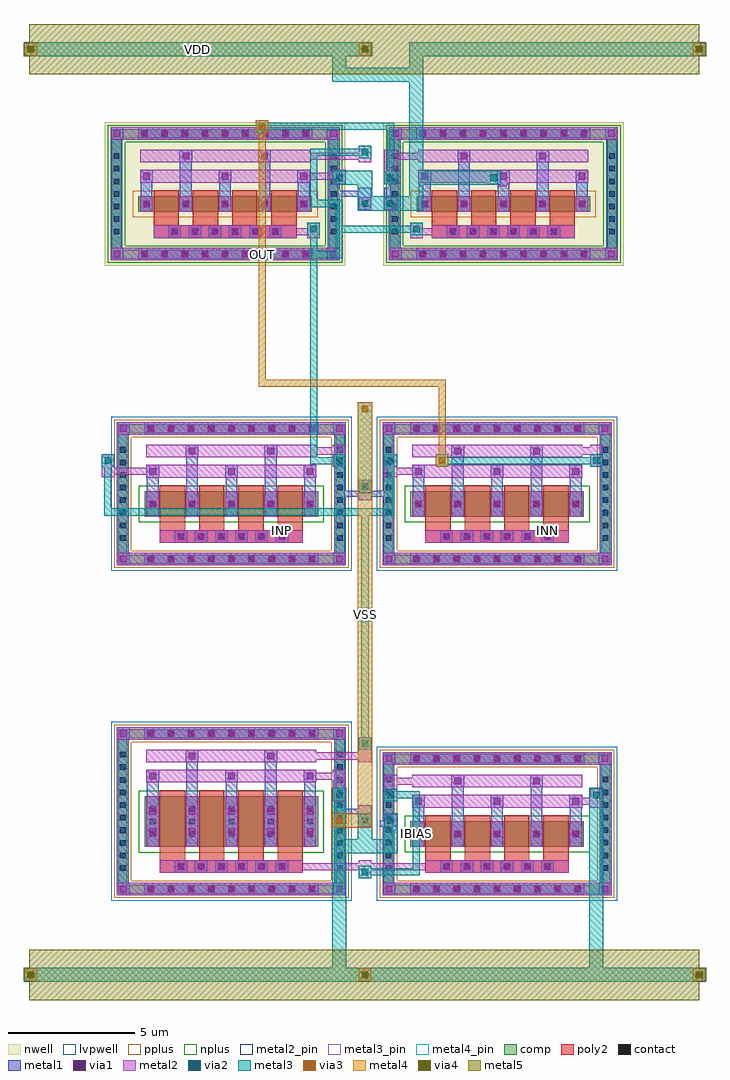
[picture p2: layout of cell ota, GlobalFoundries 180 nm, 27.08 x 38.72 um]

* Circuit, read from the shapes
.subckt ota IBIAS INN INP OUT VDD VSS
XM1 n1 IBIAS VSS VSS nfet_03v3 w=2u l=1u m=4
XM2 n2 INP n1 VSS nfet_03v3 w=1u l=1u m=4
XM3 IBIAS IBIAS VSS VSS nfet_03v3 w=1u l=1u m=4
XM4 OUT INN n1 VSS nfet_03v3 w=1u l=1u m=4
XM5 n2 n2 VDD VDD pfet_03v3 w=0.6u l=1u m=4
XM6 OUT n2 VDD VDD pfet_03v3 w=0.6u l=1u m=4
.ends

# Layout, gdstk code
import gdstk
lib = gdstk.Library(unit=1e-6, precision=1e-09)
def R(c, l, rs):  # rectangles x0, y0, x1, y1
    for r in rs: c.add(gdstk.rectangle(r[:2], r[2:], *l))
def A(c, l, x, y, w, h, nx, ny, dx, dy):  # array of equal rectangles
    R(c, l, [(x+i*dx, y+j*dy, x+i*dx+w, y+j*dy+h) for i in range(nx) for j in range(ny)])
def P(c, l, *ps):  # polygons
    for p in ps: c.add(gdstk.Polygon(p, *l))
nwell = (21, 0)
comp = (22, 0)
poly2 = (30, 0)
pplus = (31, 0)
nplus = (32, 0)
contact = (33, 0)
metal1 = (34, 0)
via1 = (35, 0)
metal2 = (36, 0)
metal2_pin = (36, 10)
via2 = (38, 0)
via3 = (40, 0)
via4 = (41, 0)
metal3 = (42, 0)
metal3_pin = (42, 10)
metal4 = (46, 0)
metal4_pin = (46, 10)
metal5 = (81, 0)
lvpwell = (204, 0)

ota = lib.new_cell('ota')
R(ota, nwell, [(-10.29,25.19,-0.75,30.89), (0.75,25.19,10.29,30.89)])
A(ota, comp, -8.65, 0.28, 0.36, 0.36, 9, 2, 0.8, 6.17)
A(ota, comp, 1.89, 0.28, 0.36, 0.36, 9, 2, 0.8, 5.18)
A(ota, comp, -9.76, 1.115, 0.36, 0.36, 1, 10, 0, 0.5)
A(ota, comp, -1.14, 1.115, 0.36, 0.36, 1, 10, 0, 0.5)
A(ota, comp, 0.78, 1.12, 0.36, 0.36, 1, 8, 0, 0.5)
A(ota, comp, 9.4, 1.12, 0.36, 0.36, 1, 8, 0, 0.5)
A(ota, comp, -8.65, 13.37, 0.36, 0.36, 9, 2, 0.8, 5.18)
A(ota, comp, 1.89, 13.37, 0.36, 0.36, 9, 2, 0.8, 5.18)
A(ota, comp, -9.76, 14.21, 0.36, 0.36, 1, 8, 0, 0.5)
A(ota, comp, -1.14, 14.21, 0.36, 0.36, 1, 8, 0, 0.5)
A(ota, comp, 0.78, 14.21, 0.36, 0.36, 1, 8, 0, 0.5)
A(ota, comp, 9.4, 14.21, 0.36, 0.36, 1, 8, 0, 0.5)
A(ota, comp, -8.9, 25.47, 0.36, 0.36, 9, 2, 0.8, 4.78)
A(ota, comp, 2.14, 25.47, 0.36, 0.36, 9, 2, 0.8, 4.78)
A(ota, comp, -10.01, 26.36, 0.36, 0.36, 1, 7, 0, 0.5)
A(ota, comp, -1.39, 26.36, 0.36, 0.36, 1, 7, 0, 0.5)
A(ota, comp, 1.03, 26.36, 0.36, 0.36, 1, 7, 0, 0.5)
A(ota, comp, 9.65, 26.36, 0.36, 0.36, 1, 7, 0, 0.5)
R(ota, comp, [(-8.65,0.28,-1.89,0.64), (1.89,0.28,8.65,0.64), (-9.76,1.115,-9.4,5.975), (-1.14,1.115,-0.78,5.975), (0.78,1.12,1.14,4.98), (9.4,1.12,9.76,4.98), (-8.71,2.14,-1.83,4.14), (1.83,2.145,8.71,3.145), (1.89,5.46,8.65,5.82), (-8.65,6.45,-1.89,6.81), (-8.65,13.37,-1.89,13.73), (1.89,13.37,8.65,13.73), (-9.76,14.21,-9.4,18.07), (-1.14,14.21,-0.78,18.07), (0.78,14.21,1.14,18.07), (9.4,14.21,9.76,18.07), (-8.71,15.235,-1.83,16.235), (1.83,15.235,8.71,16.235), (-8.65,18.55,-1.89,18.91), (1.89,18.55,8.65,18.91), (-8.9,25.47,-2.14,25.83), (2.14,25.47,8.9,25.83), (-10.01,26.36,-9.65,29.72), (-1.39,26.36,-1.03,29.72), (1.03,26.36,1.39,29.72), (9.65,26.36,10.01,29.72), (-8.96,27.34,-2.08,27.94), (2.08,27.34,8.96,27.94), (-8.9,30.25,-2.14,30.61), (2.14,30.25,8.9,30.61)])
P(ota, comp, [(-9.76,13.37),(-9.76,13.73),(-1.14,13.73),(-1.14,18.55),(-9.4,18.55),(-9.4,13.73),(-9.76,13.73),(-9.76,18.91),(-0.78,18.91),(-0.78,13.37)],
  [(0.78,0.28),(0.78,0.64),(9.4,0.64),(9.4,5.46),(1.14,5.46),(1.14,0.64),(0.78,0.64),(0.78,5.82),(9.76,5.82),(9.76,0.28)],
  [(-9.76,0.28),(-9.76,0.64),(-1.14,0.64),(-1.14,6.45),(-9.4,6.45),(-9.4,0.64),(-9.76,0.64),(-9.76,6.81),(-0.78,6.81),(-0.78,0.28)],
  [(1.03,25.47),(1.03,25.83),(9.65,25.83),(9.65,30.25),(1.39,30.25),(1.39,25.83),(1.03,25.83),(1.03,30.61),(10.01,30.61),(10.01,25.47)],
  [(-10.01,25.47),(-10.01,25.83),(-1.39,25.83),(-1.39,30.25),(-9.65,30.25),(-9.65,25.83),(-10.01,25.83),(-10.01,30.61),(-1.03,30.61),(-1.03,25.47)],
  [(0.78,13.37),(0.78,13.73),(9.4,13.73),(9.4,18.55),(1.14,18.55),(1.14,13.73),(0.78,13.73),(0.78,18.91),(9.76,18.91),(9.76,13.37)])
A(ota, poly2, -7.45, 1.17, 0.36, 0.36, 6, 2, 0.8, 13.095)
A(ota, poly2, 3.09, 1.175, 0.36, 0.36, 6, 2, 0.8, 13.09)
A(ota, poly2, -8.11, 1.6, 1, 0.3, 4, 2, 1.56, 13.095)
A(ota, poly2, 2.43, 1.605, 1, 0.3, 4, 2, 1.56, 13.09)
A(ota, poly2, -8.11, 1.9, 1, 2.48, 4, 1, 1.56, 0)
A(ota, poly2, 2.43, 1.905, 1, 1.48, 4, 2, 1.56, 13.09)
A(ota, poly2, -8.11, 14.995, 1, 1.48, 4, 1, 1.56, 0)
A(ota, poly2, -7.7, 26.36, 0.36, 0.36, 6, 1, 0.8, 0)
A(ota, poly2, 3.34, 26.36, 0.36, 0.36, 6, 1, 0.8, 0)
A(ota, poly2, -8.36, 26.79, 1, 0.31, 4, 1, 1.56, 0)
A(ota, poly2, 2.68, 26.79, 1, 0.31, 4, 1, 1.56, 0)
A(ota, poly2, -8.36, 27.1, 1, 1.08, 4, 1, 1.56, 0)
A(ota, poly2, 2.68, 27.1, 1, 1.08, 4, 1, 1.56, 0)
R(ota, poly2, [(-8.11,1.1,-2.43,1.6), (2.43,1.105,8.11,1.605), (-8.11,14.195,-2.43,14.695), (2.43,14.195,8.11,14.695), (-8.36,26.29,-2.68,26.79), (2.68,26.29,8.36,26.79)])
R(ota, pplus, [(-9.19,27.11,-1.85,28.17), (1.85,27.11,9.19,28.17)])
P(ota, pplus, [(-9.92,13.21),(-9.92,13.89),(-1.3,13.89),(-1.3,18.39),(-9.24,18.39),(-9.24,13.89),(-9.92,13.89),(-9.92,19.07),(-0.62,19.07),(-0.62,13.21)],
  [(0.62,0.12),(0.62,0.8),(9.24,0.8),(9.24,5.3),(1.3,5.3),(1.3,0.8),(0.62,0.8),(0.62,5.98),(9.92,5.98),(9.92,0.12)],
  [(-9.92,0.12),(-9.92,0.8),(-1.3,0.8),(-1.3,6.29),(-9.24,6.29),(-9.24,0.8),(-9.92,0.8),(-9.92,6.97),(-0.62,6.97),(-0.62,0.12)],
  [(0.62,13.21),(0.62,13.89),(9.24,13.89),(9.24,18.39),(1.3,18.39),(1.3,13.89),(0.62,13.89),(0.62,19.07),(9.92,19.07),(9.92,13.21)])
R(ota, nplus, [(-8.94,1.91,-1.6,4.37), (1.6,1.915,8.94,3.375), (-8.94,15.005,-1.6,16.465), (1.6,15.005,8.94,16.465)])
P(ota, nplus, [(0.87,25.31),(0.87,25.99),(9.49,25.99),(9.49,30.09),(1.55,30.09),(1.55,25.99),(0.87,25.99),(0.87,30.77),(10.17,30.77),(10.17,25.31)],
  [(-10.17,25.31),(-10.17,25.99),(-1.55,25.99),(-1.55,30.09),(-9.49,30.09),(-9.49,25.99),(-10.17,25.99),(-10.17,30.77),(-0.87,30.77),(-0.87,25.31)])
A(ota, contact, -8.58, 0.35, 0.22, 0.22, 9, 2, 0.8, 6.17)
A(ota, contact, 1.96, 0.35, 0.22, 0.22, 9, 2, 0.8, 5.18)
A(ota, contact, -9.69, 1.185, 0.22, 0.22, 1, 10, 0, 0.5)
A(ota, contact, -1.07, 1.185, 0.22, 0.22, 1, 10, 0, 0.5)
A(ota, contact, 0.85, 1.19, 0.22, 0.22, 1, 8, 0, 0.5)
A(ota, contact, 9.47, 1.19, 0.22, 0.22, 1, 8, 0, 0.5)
A(ota, contact, -7.38, 1.24, 0.22, 0.22, 6, 2, 0.8, 13.095)
A(ota, contact, 3.16, 1.245, 0.22, 0.22, 6, 2, 0.8, 13.09)
A(ota, contact, -8.5, 2.53, 0.22, 0.22, 5, 3, 1.56, 0.5)
A(ota, contact, 2.04, 2.535, 0.22, 0.22, 5, 2, 1.56, 13.09)
A(ota, contact, -8.58, 13.44, 0.22, 0.22, 9, 2, 0.8, 5.18)
A(ota, contact, 1.96, 13.44, 0.22, 0.22, 9, 2, 0.8, 5.18)
A(ota, contact, -9.69, 14.28, 0.22, 0.22, 1, 8, 0, 0.5)
A(ota, contact, -1.07, 14.28, 0.22, 0.22, 1, 8, 0, 0.5)
A(ota, contact, 0.85, 14.28, 0.22, 0.22, 1, 8, 0, 0.5)
A(ota, contact, 9.47, 14.28, 0.22, 0.22, 1, 8, 0, 0.5)
A(ota, contact, -8.5, 15.625, 0.22, 0.22, 5, 1, 1.56, 0)
A(ota, contact, -8.83, 25.54, 0.22, 0.22, 9, 2, 0.8, 4.78)
A(ota, contact, 2.21, 25.54, 0.22, 0.22, 9, 2, 0.8, 4.78)
A(ota, contact, -9.94, 26.43, 0.22, 0.22, 1, 7, 0, 0.5)
A(ota, contact, -7.63, 26.43, 0.22, 0.22, 6, 1, 0.8, 0)
A(ota, contact, -1.32, 26.43, 0.22, 0.22, 1, 7, 0, 0.5)
A(ota, contact, 1.1, 26.43, 0.22, 0.22, 1, 7, 0, 0.5)
A(ota, contact, 3.41, 26.43, 0.22, 0.22, 6, 1, 0.8, 0)
A(ota, contact, 9.72, 26.43, 0.22, 0.22, 1, 7, 0, 0.5)
A(ota, contact, -8.75, 27.53, 0.22, 0.22, 5, 1, 1.56, 0)
A(ota, contact, 2.29, 27.53, 0.22, 0.22, 5, 1, 1.56, 0)
A(ota, metal1, -8.72, 0.21, 0.5, 0.5, 9, 2, 0.8, 6.17)
A(ota, metal1, 1.82, 0.21, 0.5, 0.5, 9, 2, 0.8, 5.18)
A(ota, metal1, -9.81, 1.065, 0.46, 0.46, 1, 10, 0, 0.5)
A(ota, metal1, -1.19, 1.065, 0.46, 0.46, 1, 10, 0, 0.5)
A(ota, metal1, 0.73, 1.07, 0.46, 0.46, 1, 8, 0, 0.5)
A(ota, metal1, 9.35, 1.07, 0.46, 0.46, 1, 8, 0, 0.5)
A(ota, metal1, -7.52, 1.1, 0.5, 0.5, 6, 2, 0.8, 13.095)
A(ota, metal1, 3.02, 1.105, 0.5, 0.5, 6, 2, 0.8, 13.09)
A(ota, metal1, -8.62, 2.14, 0.46, 2, 5, 1, 1.56, 0)
A(ota, metal1, 1.92, 2.145, 0.46, 1, 5, 2, 1.56, 13.09)
A(ota, metal1, -8.62, 2.41, 0.46, 0.46, 5, 3, 1.56, 0.5)
A(ota, metal1, 1.92, 2.415, 0.46, 0.46, 5, 2, 1.56, 13.09)
A(ota, metal1, -8.64, 2.49, 0.5, 0.5, 5, 2, 1.56, 0.8)
A(ota, metal1, -8.64, 2.49, 0.5, 1.3, 5, 1, 1.56, 0)
A(ota, metal1, 1.92, 3.145, 0.46, 1.05, 3, 2, 3.12, 13.09)
A(ota, metal1, 1.9, 3.695, 0.5, 0.5, 3, 2, 3.12, 13.09)
A(ota, metal1, -8.62, 4.14, 0.46, 1.05, 3, 2, 3.12, 12.095)
A(ota, metal1, -8.64, 4.69, 0.5, 0.5, 3, 2, 3.12, 12.095)
A(ota, metal1, -8.72, 13.3, 0.5, 0.5, 9, 2, 0.8, 5.18)
A(ota, metal1, 1.82, 13.3, 0.5, 0.5, 9, 2, 0.8, 5.18)
A(ota, metal1, -9.81, 14.16, 0.46, 0.46, 1, 8, 0, 0.5)
A(ota, metal1, -1.19, 14.16, 0.46, 0.46, 1, 8, 0, 0.5)
A(ota, metal1, 0.73, 14.16, 0.46, 0.46, 1, 8, 0, 0.5)
A(ota, metal1, 9.35, 14.16, 0.46, 0.46, 1, 8, 0, 0.5)
A(ota, metal1, -8.62, 15.235, 0.46, 1, 5, 1, 1.56, 0)
A(ota, metal1, -8.62, 15.505, 0.46, 0.46, 5, 1, 1.56, 0)
A(ota, metal1, -8.97, 25.4, 0.5, 0.5, 9, 2, 0.8, 4.78)
A(ota, metal1, 2.07, 25.4, 0.5, 0.5, 9, 2, 0.8, 4.78)
A(ota, metal1, -7.77, 26.29, 0.5, 0.5, 6, 1, 0.8, 0)
A(ota, metal1, 3.27, 26.29, 0.5, 0.5, 6, 1, 0.8, 0)
A(ota, metal1, -10.06, 26.31, 0.46, 0.46, 1, 7, 0, 0.5)
A(ota, metal1, -1.44, 26.31, 0.46, 0.46, 1, 7, 0, 0.5)
A(ota, metal1, 0.98, 26.31, 0.46, 0.46, 1, 7, 0, 0.5)
A(ota, metal1, 9.6, 26.31, 0.46, 0.46, 1, 7, 0, 0.5)
A(ota, metal1, -8.87, 27.34, 0.46, 0.6, 5, 1, 1.56, 0)
A(ota, metal1, 2.17, 27.34, 0.46, 0.6, 5, 1, 1.56, 0)
A(ota, metal1, -8.87, 27.41, 0.46, 0.46, 5, 1, 1.56, 0)
A(ota, metal1, 2.17, 27.41, 0.46, 0.46, 5, 1, 1.56, 0)
A(ota, metal1, -8.87, 27.94, 0.46, 1.05, 3, 1, 3.12, 0)
A(ota, metal1, 2.17, 27.94, 0.46, 1.05, 3, 1, 3.12, 0)
A(ota, metal1, -8.89, 28.49, 0.5, 0.5, 3, 1, 3.12, 0)
A(ota, metal1, 2.15, 28.49, 0.5, 0.5, 3, 1, 3.12, 0)
R(ota, metal1, [(-9.81,0.21,-9.31,0.71), (-9.81,0.21,-9.31,0.71), (-9.81,0.21,-9.35,0.64), (-8.72,0.21,-1.82,0.71), (-1.23,0.21,-0.73,0.71), (-1.23,0.21,-0.73,0.71), (-1.19,0.21,-0.73,0.64), (0.73,0.21,1.23,0.71), (0.73,0.21,1.23,0.71), (0.73,0.21,1.19,0.64), (1.82,0.21,8.72,0.71), (9.31,0.21,9.81,0.71), (9.31,0.21,9.81,0.71), (9.35,0.21,9.81,0.64), (-9.81,0.64,-9.35,6.45), (-1.19,0.64,-0.73,6.45), (0.73,0.64,1.19,5.46), (9.35,0.64,9.81,5.46), (1.9,2.395,2.4,2.895), (1.9,2.395,2.4,2.895), (3.46,2.395,3.96,2.895), (3.46,2.395,3.96,2.895), (5.02,2.395,5.52,2.895), (5.02,2.395,5.52,2.895), (6.58,2.395,7.08,2.895), (6.58,2.395,7.08,2.895), (8.14,2.395,8.64,2.895), (8.14,2.395,8.64,2.895), (0.8,2.53,1.19,2.8), (0.8,2.8,1.3,3.43), (-0.22,2.93,0.28,3.79), (-0.22,2.93,0.28,3.43), (0.8,2.93,1.3,3.43), (0.615,2.935,1.165,3.165), (3.48,3.145,3.94,4.995), (6.6,3.145,7.06,4.995), (-0.845,3.425,0.145,3.655), (0.8,3.43,1.19,3.57), (-7.06,4.14,-6.6,5.99), (-3.94,4.14,-3.48,5.99), (3.46,4.495,3.96,4.995), (6.58,4.495,7.08,4.995), (0.73,5.39,1.23,5.89), (0.73,5.39,1.23,5.89), (1.82,5.39,8.72,5.89), (9.31,5.39,9.81,5.89), (9.31,5.39,9.81,5.89), (0.73,5.46,1.19,5.89), (9.35,5.46,9.81,5.89), (-7.08,5.49,-6.58,5.99), (-3.96,5.49,-3.46,5.99), (-9.81,6.38,-9.31,6.88), (-9.81,6.38,-9.31,6.88), (-8.72,6.38,-1.82,6.88), (-1.23,6.38,-0.73,6.88), (-1.23,6.38,-0.73,6.88), (-9.81,6.45,-9.35,6.88), (-1.19,6.45,-0.73,6.88), (-9.81,13.3,-9.31,13.8), (-9.81,13.3,-9.31,13.8), (-9.81,13.3,-9.35,13.73), (-8.72,13.3,-1.82,13.8), (-1.23,13.3,-0.73,13.8), (-1.23,13.3,-0.73,13.8), (-1.19,13.3,-0.73,13.73), (0.73,13.3,1.23,13.8), (0.73,13.3,1.23,13.8), (0.73,13.3,1.19,13.73), (1.82,13.3,8.72,13.8), (9.31,13.3,9.81,13.8), (9.31,13.3,9.81,13.8), (9.35,13.3,9.81,13.73), (-9.81,13.73,-9.35,18.55), (-1.19,13.73,-0.73,18.55), (0.73,13.73,1.19,18.55), (9.35,13.73,9.81,18.55), (-8.64,15.485,-8.14,15.985), (-8.64,15.485,-8.14,15.985), (-7.08,15.485,-6.58,15.985), (-7.08,15.485,-6.58,15.985), (-5.52,15.485,-5.02,15.985), (-5.52,15.485,-5.02,15.985), (-3.96,15.485,-3.46,15.985), (-3.96,15.485,-3.46,15.985), (-2.4,15.485,-1.9,15.985), (-2.4,15.485,-1.9,15.985), (1.9,15.485,2.4,15.985), (1.9,15.485,2.4,15.985), (3.46,15.485,3.96,15.985), (3.46,15.485,3.96,15.985), (5.02,15.485,5.52,15.985), (5.02,15.485,5.52,15.985), (6.58,15.485,7.08,15.985), (6.58,15.485,7.08,15.985), (8.14,15.485,8.64,15.985), (8.14,15.485,8.64,15.985), (-0.22,15.89,0.28,16.69), (-0.22,15.89,0.28,16.69), (-0.22,15.89,0.28,16.69), (-0.22,15.89,0.28,16.69), (-0.845,16.025,0.145,16.255), (-0.845,16.025,0.145,16.255), (-0.085,16.025,0.845,16.255), (-0.085,16.025,0.845,16.255), (-0.22,16.19,0.28,16.69), (-7.06,16.235,-6.6,18.085), (-3.94,16.235,-3.48,18.085), (3.48,16.235,3.94,18.085), (6.6,16.235,7.06,18.085), (-7.08,17.585,-6.58,18.085), (-3.96,17.585,-3.46,18.085), (3.46,17.585,3.96,18.085), (6.58,17.585,7.08,18.085), (-9.81,18.48,-9.31,18.98), (-9.81,18.48,-9.31,18.98), (-8.72,18.48,-1.82,18.98), (-1.23,18.48,-0.73,18.98), (-1.23,18.48,-0.73,18.98), (0.73,18.48,1.23,18.98), (0.73,18.48,1.23,18.98), (1.82,18.48,8.72,18.98), (9.31,18.48,9.81,18.98), (9.31,18.48,9.81,18.98), (-9.81,18.55,-9.35,18.98), (-1.19,18.55,-0.73,18.98), (0.73,18.55,1.19,18.98), (9.35,18.55,9.81,18.98), (-10.06,25.4,-9.56,25.9), (-10.06,25.4,-9.56,25.9), (-10.06,25.4,-9.6,25.83), (-8.97,25.4,-2.07,25.9), (-1.48,25.4,-0.98,25.9), (-1.48,25.4,-0.98,25.9), (-1.44,25.4,-0.98,25.83), (0.98,25.4,1.48,25.9), (0.98,25.4,1.48,25.9), (0.98,25.4,1.44,25.83), (2.07,25.4,8.97,25.9), (9.56,25.4,10.06,25.9), (9.56,25.4,10.06,25.9), (9.6,25.4,10.06,25.83), (-10.06,25.83,-9.6,30.25), (-1.44,25.83,-0.98,30.25), (0.98,25.83,1.44,30.25), (9.6,25.83,10.06,30.25), (0.98,27.27,1.3,27.41), (-8.89,27.39,-8.39,27.89), (-8.89,27.39,-8.39,27.89), (-7.33,27.39,-6.83,27.89), (-7.33,27.39,-6.83,27.89), (-5.77,27.39,-5.27,27.89), (-5.77,27.39,-5.27,27.89), (-4.21,27.39,-3.71,27.89), (-4.21,27.39,-3.71,27.89), (-2.65,27.39,-2.15,27.89), (-2.65,27.39,-2.15,27.89), (2.15,27.39,2.65,27.89), (2.15,27.39,2.65,27.89), (3.71,27.39,4.21,27.89), (3.71,27.39,4.21,27.89), (5.27,27.39,5.77,27.89), (5.27,27.39,5.77,27.89), (6.83,27.39,7.33,27.89), (6.83,27.39,7.33,27.89), (8.39,27.39,8.89,27.89), (8.39,27.39,8.89,27.89), (-0.22,27.41,0.28,28.29), (-0.22,27.41,0.28,27.91), (0.8,27.41,1.3,28.29), (0.8,27.41,1.3,27.91), (-1.095,27.77,-0.98,27.925), (0.98,27.77,1.165,27.925), (-1.095,27.925,0.145,28.155), (0.865,27.925,1.165,28.155), (-7.31,27.94,-6.85,29.79), (-4.19,27.94,-3.73,29.79), (3.73,27.94,4.19,29.79), (6.85,27.94,7.31,29.79), (-1.095,28.155,-0.98,28.31), (0.98,28.155,1.165,28.31), (0.98,28.29,1.3,28.31), (-7.33,29.29,-6.83,29.79), (-4.21,29.29,-3.71,29.79), (3.71,29.29,4.21,29.79), (6.83,29.29,7.33,29.79), (-10.06,30.18,-9.56,30.68), (-10.06,30.18,-9.56,30.68), (-8.97,30.18,-2.07,30.68), (-1.48,30.18,-0.98,30.68), (-1.48,30.18,-0.98,30.68), (0.98,30.18,1.48,30.68), (0.98,30.18,1.48,30.68), (2.07,30.18,8.97,30.68), (9.56,30.18,10.06,30.68), (9.56,30.18,10.06,30.68), (-10.06,30.25,-9.6,30.68), (-1.44,30.25,-0.98,30.68), (0.98,30.25,1.44,30.68), (9.6,30.25,10.06,30.68)])
A(ota, via1, -8.6, 0.33, 0.26, 0.26, 9, 2, 0.8, 6.17)
A(ota, via1, 1.94, 0.33, 0.26, 0.26, 9, 2, 0.8, 5.18)
A(ota, via1, -7.4, 1.22, 0.26, 0.26, 6, 2, 0.8, 13.095)
A(ota, via1, 3.14, 1.225, 0.26, 0.26, 6, 2, 0.8, 13.09)
A(ota, via1, 2.02, 2.515, 0.26, 0.26, 5, 2, 1.56, 13.09)
A(ota, via1, -8.52, 2.61, 0.26, 0.26, 5, 2, 1.56, 0.8)
A(ota, via1, 2.02, 3.815, 0.26, 0.26, 3, 2, 3.12, 13.09)
A(ota, via1, -8.52, 4.81, 0.26, 0.26, 3, 2, 3.12, 12.095)
A(ota, via1, -8.6, 13.42, 0.26, 0.26, 9, 2, 0.8, 5.18)
A(ota, via1, 1.94, 13.42, 0.26, 0.26, 9, 2, 0.8, 5.18)
A(ota, via1, -8.52, 15.605, 0.26, 0.26, 5, 1, 1.56, 0)
A(ota, via1, -8.85, 25.52, 0.26, 0.26, 9, 2, 0.8, 4.78)
A(ota, via1, 2.19, 25.52, 0.26, 0.26, 9, 2, 0.8, 4.78)
A(ota, via1, -7.65, 26.41, 0.26, 0.26, 6, 1, 0.8, 0)
A(ota, via1, 3.39, 26.41, 0.26, 0.26, 6, 1, 0.8, 0)
A(ota, via1, -8.77, 27.51, 0.26, 0.26, 5, 1, 1.56, 0)
A(ota, via1, 2.27, 27.51, 0.26, 0.26, 5, 1, 1.56, 0)
A(ota, via1, -8.77, 28.61, 0.26, 0.26, 3, 1, 3.12, 0)
A(ota, via1, 2.27, 28.61, 0.26, 0.26, 3, 1, 3.12, 0)
R(ota, via1, [(-9.69,0.33,-9.43,0.59), (-1.11,0.33,-0.85,0.59), (0.85,0.33,1.11,0.59), (9.43,0.33,9.69,0.59), (-0.1,3.05,0.16,3.31), (0.92,3.05,1.18,3.31), (3.58,4.615,3.84,4.875), (6.7,4.615,6.96,4.875), (0.85,5.51,1.11,5.77), (9.43,5.51,9.69,5.77), (-6.96,5.61,-6.7,5.87), (-3.84,5.61,-3.58,5.87), (-9.69,6.5,-9.43,6.76), (-1.11,6.5,-0.85,6.76), (-9.69,13.42,-9.43,13.68), (-1.11,13.42,-0.85,13.68), (0.85,13.42,1.11,13.68), (9.43,13.42,9.69,13.68), (-0.1,16.31,0.16,16.57), (-6.96,17.705,-6.7,17.965), (-3.84,17.705,-3.58,17.965), (3.58,17.705,3.84,17.965), (6.7,17.705,6.96,17.965), (-9.69,18.6,-9.43,18.86), (-1.11,18.6,-0.85,18.86), (0.85,18.6,1.11,18.86), (9.43,18.6,9.69,18.86), (-9.94,25.52,-9.68,25.78), (-1.36,25.52,-1.1,25.78), (1.1,25.52,1.36,25.78), (9.68,25.52,9.94,25.78), (-0.1,27.53,0.16,27.79), (0.92,27.53,1.18,27.79), (-7.21,29.41,-6.95,29.67), (-4.09,29.41,-3.83,29.67), (3.83,29.41,4.09,29.67), (6.95,29.41,7.21,29.67), (-9.94,30.3,-9.68,30.56), (-1.36,30.3,-1.1,30.56), (1.1,30.3,1.36,30.56), (9.68,30.3,9.94,30.56)])
A(ota, metal2, -8.72, 0.21, 0.5, 0.5, 9, 2, 0.8, 6.17)
A(ota, metal2, 1.82, 0.21, 0.5, 0.5, 9, 2, 0.8, 5.18)
A(ota, metal2, -7.52, 1.1, 0.5, 0.5, 6, 2, 0.8, 13.095)
A(ota, metal2, 3.02, 1.105, 0.5, 0.5, 6, 2, 0.8, 13.09)
A(ota, metal2, -8.64, 2.14, 0.5, 2, 5, 1, 1.56, 0)
A(ota, metal2, 1.9, 2.145, 0.5, 1, 5, 2, 1.56, 13.09)
A(ota, metal2, 1.9, 2.395, 0.5, 0.5, 5, 2, 1.56, 13.09)
A(ota, metal2, -8.64, 2.49, 0.5, 0.5, 5, 2, 1.56, 0.8)
A(ota, metal2, 1.9, 3.695, 0.5, 0.5, 3, 2, 3.12, 13.09)
A(ota, metal2, -8.64, 4.69, 0.5, 0.5, 3, 2, 3.12, 12.095)
A(ota, metal2, -8.72, 13.3, 0.5, 0.5, 9, 2, 0.8, 5.18)
A(ota, metal2, 1.82, 13.3, 0.5, 0.5, 9, 2, 0.8, 5.18)
A(ota, metal2, -8.64, 15.235, 0.5, 1, 5, 1, 1.56, 0)
A(ota, metal2, -8.64, 15.485, 0.5, 0.5, 5, 1, 1.56, 0)
A(ota, metal2, -8.97, 25.4, 0.5, 0.5, 9, 2, 0.8, 4.78)
A(ota, metal2, 2.07, 25.4, 0.5, 0.5, 9, 2, 0.8, 4.78)
A(ota, metal2, -7.77, 26.29, 0.5, 0.5, 6, 1, 0.8, 0)
A(ota, metal2, 3.27, 26.29, 0.5, 0.5, 6, 1, 0.8, 0)
A(ota, metal2, -8.89, 27.34, 0.5, 0.6, 5, 1, 1.56, 0)
A(ota, metal2, 2.15, 27.34, 0.5, 0.6, 5, 1, 1.56, 0)
A(ota, metal2, -8.89, 27.39, 0.5, 0.5, 5, 1, 1.56, 0)
A(ota, metal2, 2.15, 27.39, 0.5, 0.5, 5, 1, 1.56, 0)
A(ota, metal2, -8.89, 28.49, 0.5, 0.5, 3, 1, 3.12, 0)
A(ota, metal2, 2.15, 28.49, 0.5, 0.5, 3, 1, 3.12, 0)
R(ota, metal2, [(-9.81,0.21,-9.31,0.71), (-9.81,0.21,-9.31,0.71), (-9.81,0.21,-9.4,0.71), (-9.4,0.21,-1.14,0.71), (-1.23,0.21,-0.73,0.71), (-1.23,0.21,-0.73,0.71), (-1.14,0.21,-0.73,0.71), (0.73,0.21,1.23,0.71), (0.73,0.21,1.23,0.71), (0.73,0.21,1.14,0.71), (1.14,0.21,9.4,0.71), (9.31,0.21,9.81,0.71), (9.31,0.21,9.81,0.71), (9.4,0.21,9.81,0.71), (-0.22,0.89,0.28,1.6), (-0.22,0.89,0.28,1.6), (-0.22,0.89,0.28,1.6), (-0.22,0.89,0.28,1.6), (-0.22,0.89,0.28,1.39), (-8.11,1.1,-2.43,1.6), (2.43,1.105,8.11,1.605), (-2.57,1.21,0.17,1.49), (-2.57,1.21,0.17,1.49), (-0.11,1.21,2.57,1.49), (-0.11,1.21,2.57,1.49), (-0.22,2.93,0.28,3.43), (0.8,2.93,1.3,3.43), (8.96,3.69,9.46,4.45), (1.9,3.695,8.64,4.195), (8.5,3.8,9.35,4.08), (-1.24,3.95,-0.74,4.45), (-1.24,3.95,-0.74,5.19), (0.8,3.95,1.3,4.45), (0.8,3.95,1.3,4.99), (8.96,3.95,9.46,4.45), (1.9,4.495,8.64,4.995), (3.46,4.495,3.96,4.995), (6.58,4.495,7.08,4.995), (0.91,4.6,2.04,4.88), (-8.64,4.69,-1.9,5.19), (-2.04,4.8,-0.85,5.08), (0.73,5.39,1.23,5.89), (0.73,5.39,1.23,5.89), (0.73,5.39,1.14,5.89), (1.14,5.39,9.4,5.89), (9.31,5.39,9.81,5.89), (9.31,5.39,9.81,5.89), (9.4,5.39,9.81,5.89), (-8.64,5.49,-1.9,5.99), (-7.08,5.49,-6.58,5.99), (-3.96,5.49,-3.46,5.99), (-0.22,5.49,0.28,6.49), (-2.04,5.6,0.17,5.88), (-0.22,5.99,0.28,6.49), (-9.81,6.38,-9.31,6.88), (-9.81,6.38,-9.31,6.88), (-9.81,6.38,-9.4,6.88), (-9.4,6.38,-1.14,6.88), (-1.23,6.38,-0.73,6.88), (-1.23,6.38,-0.73,6.88), (-1.14,6.38,-0.73,6.88), (-9.81,13.3,-9.31,13.8), (-9.81,13.3,-9.31,13.8), (-9.81,13.3,-9.4,13.8), (-9.4,13.3,-1.14,13.8), (-1.23,13.3,-0.73,13.8), (-1.23,13.3,-0.73,13.8), (-1.14,13.3,-0.73,13.8), (0.73,13.3,1.23,13.8), (0.73,13.3,1.23,13.8), (0.73,13.3,1.14,13.8), (1.14,13.3,9.4,13.8), (9.31,13.3,9.81,13.8), (9.31,13.3,9.81,13.8), (9.4,13.3,9.81,13.8), (-8.11,14.195,-2.43,14.695), (2.43,14.195,8.11,14.695), (-0.22,16.19,0.28,16.69), (-8.64,16.785,-1.9,17.285), (1.9,16.785,8.64,17.285), (-10.42,16.79,-9.92,17.71), (0.8,16.79,1.3,17.71), (-10.31,16.9,-8.5,17.18), (0.91,16.9,2.04,17.18), (-10.42,17.21,-9.92,17.71), (-1.24,17.21,-0.74,17.71), (-1.24,17.21,-0.74,18.09), (0.8,17.21,1.3,17.71), (8.96,17.21,9.46,17.71), (8.96,17.21,9.46,18.09), (-8.64,17.585,-1.9,18.085), (-7.08,17.585,-6.58,18.085), (-3.96,17.585,-3.46,18.085), (1.9,17.585,8.64,18.085), (3.46,17.585,3.96,18.085), (6.58,17.585,7.08,18.085), (-2.04,17.7,-0.85,17.98), (8.5,17.7,9.35,17.98), (-9.81,18.48,-9.31,18.98), (-9.81,18.48,-9.31,18.98), (-9.81,18.48,-9.4,18.98), (-9.4,18.48,-1.14,18.98), (-1.23,18.48,-0.73,18.98), (-1.23,18.48,-0.73,18.98), (-1.14,18.48,-0.73,18.98), (0.73,18.48,1.23,18.98), (0.73,18.48,1.23,18.98), (0.73,18.48,1.14,18.98), (1.14,18.48,9.4,18.98), (9.31,18.48,9.81,18.98), (9.31,18.48,9.81,18.98), (9.4,18.48,9.81,18.98), (-10.06,25.4,-9.56,25.9), (-10.06,25.4,-9.56,25.9), (-10.06,25.4,-9.65,25.9), (-9.65,25.4,-1.39,25.9), (-1.48,25.4,-0.98,25.9), (-1.48,25.4,-0.98,25.9), (-1.39,25.4,-0.98,25.9), (0.98,25.4,1.48,25.9), (0.98,25.4,1.48,25.9), (0.98,25.4,1.39,25.9), (1.39,25.4,9.65,25.9), (9.56,25.4,10.06,25.9), (9.56,25.4,10.06,25.9), (9.65,25.4,10.06,25.9), (-8.36,26.29,-2.68,26.79), (-2.26,26.29,-1.76,26.89), (1.82,26.29,2.32,26.89), (2.68,26.29,8.36,26.79), (-2.26,26.39,-1.76,26.89), (1.82,26.39,2.32,26.89), (-2.82,26.4,-1.87,26.68), (1.93,26.4,2.82,26.68), (-0.22,27.41,0.28,27.91), (0.8,27.41,1.3,27.91), (5.38,28.35,5.66,28.82), (-1.24,28.43,-0.74,28.93), (-1.24,28.43,-0.74,28.99), (0.8,28.43,1.3,28.93), (0.8,28.43,1.3,29.79), (4.88,28.43,5.38,28.93), (4.88,28.43,5.77,28.93), (-8.89,28.49,-2.15,28.99), (2.15,28.49,8.89,28.99), (-2.29,28.6,-0.85,28.88), (-8.89,29.29,-2.15,29.79), (-7.33,29.29,-6.83,29.79), (-4.21,29.29,-3.71,29.79), (-0.22,29.29,0.28,29.95), (2.15,29.29,8.89,29.79), (3.71,29.29,4.21,29.79), (6.83,29.29,7.33,29.79), (-2.29,29.4,0.17,29.68), (0.91,29.4,2.29,29.68), (-0.22,29.45,0.28,29.95), (-10.06,30.18,-9.56,30.68), (-10.06,30.18,-9.56,30.68), (-10.06,30.18,-9.65,30.68), (-9.65,30.18,-1.39,30.68), (-1.48,30.18,-0.98,30.68), (-1.48,30.18,-0.98,30.68), (-1.39,30.18,-0.98,30.68), (0.98,30.18,1.48,30.68), (0.98,30.18,1.48,30.68), (0.98,30.18,1.39,30.68), (1.39,30.18,9.65,30.68), (9.56,30.18,10.06,30.68), (9.56,30.18,10.06,30.68), (9.65,30.18,10.06,30.68)])
R(ota, metal2_pin, [(-3.41,14.555,-3.13,14.835), (7.13,14.555,7.41,14.835)])
R(ota, via2, [(-0.1,1.01,0.16,1.27), (-0.1,3.05,0.16,3.31), (0.92,3.05,1.18,3.31), (-1.12,4.07,-0.86,4.33), (0.92,4.07,1.18,4.33), (9.08,4.07,9.34,4.33), (-0.1,6.11,0.16,6.37), (-0.1,16.31,0.16,16.57), (-10.3,17.33,-10.04,17.59), (-1.12,17.33,-0.86,17.59), (0.92,17.33,1.18,17.59), (9.08,17.33,9.34,17.59), (-2.14,26.51,-1.88,26.77), (1.94,26.51,2.2,26.77), (-0.1,27.53,0.16,27.79), (0.92,27.53,1.18,27.79), (-1.12,28.55,-0.86,28.81), (0.92,28.55,1.18,28.81), (5,28.55,5.26,28.81), (-0.1,29.57,0.16,29.83)])
A(ota, via3, -13.36, -3.07, 0.26, 0.26, 3, 2, 13.26, 36.72)
R(ota, via3, [(-1.12,3.05,-0.86,3.31), (2.96,17.33,3.22,17.59), (-0.1,19.37,0.16,19.63), (-4.18,30.59,-3.92,30.85)])
A(ota, via4, -13.36, -3.07, 0.26, 0.26, 3, 2, 13.26, 36.72)
A(ota, metal3, -13.48, -3.19, 0.5, 0.5, 3, 2, 13.26, 36.72)
A(ota, metal3, -1.24, 2.93, 0.5, 0.5, 3, 1, 1.02, 0)
A(ota, metal3, -1.24, 17.21, 0.5, 0.5, 3, 1, 2.04, 0)
R(ota, metal3, [(-13.51,-3.22,0.31,-2.66), (-1.27,-3.22,-0.71,2.44), (-0.25,-3.22,13.57,-2.66), (8.93,-3.22,9.49,4.48), (-0.22,0.89,0.28,1.39), (-0.11,1,2.21,1.28), (1.93,1,2.21,4.34), (-1.27,1.88,0.31,2.44), (-1.27,1.88,-0.71,4.48), (-0.25,1.88,0.31,3.46), (-0.25,1.88,1.33,2.44), (0.77,1.88,1.33,3.46), (-1.24,3.95,-0.74,4.45), (0.8,3.95,1.3,4.45), (8.96,3.95,9.46,4.45), (0.91,4.06,2.21,4.34), (-0.22,5.99,0.28,6.49), (-0.11,6.1,0.17,15.56), (-10.31,15.28,-10.03,17.6), (-10.31,15.28,1.19,15.56), (0.91,15.28,1.19,17.6), (-0.25,16.16,0.31,19.78), (-0.22,16.19,0.28,16.69), (-10.42,17.21,-9.92,17.71), (8.96,17.21,9.46,17.71), (-2.15,17.32,-1.87,26.78), (-2.15,17.32,-0.85,17.6), (2.95,17.32,9.35,17.6), (-0.22,19.25,0.28,19.75), (-2.15,25.48,-0.85,25.76), (-1.13,25.48,-0.85,26.78), (-2.26,26.39,-1.76,26.89), (1.82,26.39,2.32,26.89), (-1.13,26.5,2.21,26.78), (-1.13,26.5,-0.85,27.8), (-0.25,27.38,0.31,28.96), (-0.25,27.38,2.35,27.94), (1.79,27.38,2.35,33.04), (-0.22,27.41,0.28,27.91), (0.8,27.41,1.3,27.91), (-2.15,27.52,-0.85,27.8), (-2.15,27.52,-1.87,29.84), (-1.27,28.4,0.31,28.96), (1.79,28.4,5.41,28.96), (-1.24,28.43,-0.74,28.93), (0.8,28.43,1.3,28.93), (4.88,28.43,5.38,28.93), (0.91,28.54,1.19,30.86), (-0.22,29.45,0.28,29.95), (-2.15,29.56,0.17,29.84), (-4.3,30.47,-3.8,30.97), (-4.19,30.58,1.19,30.86), (-1.27,32.48,-0.71,34.06), (-1.27,32.48,2.35,33.04), (1.79,32.48,2.35,34.06), (-13.51,33.5,0.31,34.06), (1.79,33.5,13.57,34.06)])
R(ota, metal3_pin, [(1.93,2.53,2.21,2.81), (-6.88,33.5,-6.32,34.06)])
A(ota, metal4, -13.48, -3.19, 0.5, 0.5, 3, 2, 13.26, 36.72)
R(ota, metal4, [(-1.27,2.9,0.31,3.46), (-0.25,2.9,0.31,19.78), (-1.24,2.93,-0.74,3.43), (2.84,17.21,3.34,17.71), (2.95,17.32,3.23,20.66), (-0.22,19.25,0.28,19.75), (-4.19,20.38,-3.91,30.86), (-4.19,20.38,3.23,20.66), (-4.3,30.47,-3.8,30.97)])
R(ota, metal4_pin, [(-0.25,11.06,0.31,11.62), (-4.19,25.48,-3.91,25.76)])
A(ota, metal5, -13.48, -3.19, 0.5, 0.5, 3, 2, 13.26, 36.72)
R(ota, metal5, [(-13.29,-3.94,13.29,-1.94), (-13.29,32.78,13.29,34.78)])
R(ota, lvpwell, [(-10.04,0,-0.5,7.09), (0.5,0,10.04,6.1), (-10.04,13.09,-0.5,19.19), (0.5,13.09,10.04,19.19)])
ota.add(gdstk.Label('INN', (7.27,14.695), layer=36, texttype=10))
ota.add(gdstk.Label('INP', (-3.27,14.695), layer=36, texttype=10))
ota.add(gdstk.Label('OUT', (-4.05,25.62), layer=46, texttype=10))
ota.add(gdstk.Label('VSS', (0.03,11.34), layer=46, texttype=10))
ota.add(gdstk.Label('IBIAS', (2.07,2.67), layer=42, texttype=10))
ota.add(gdstk.Label('VDD', (-6.6,33.78), layer=42, texttype=10))

lib.write_gds('ota.gds')
